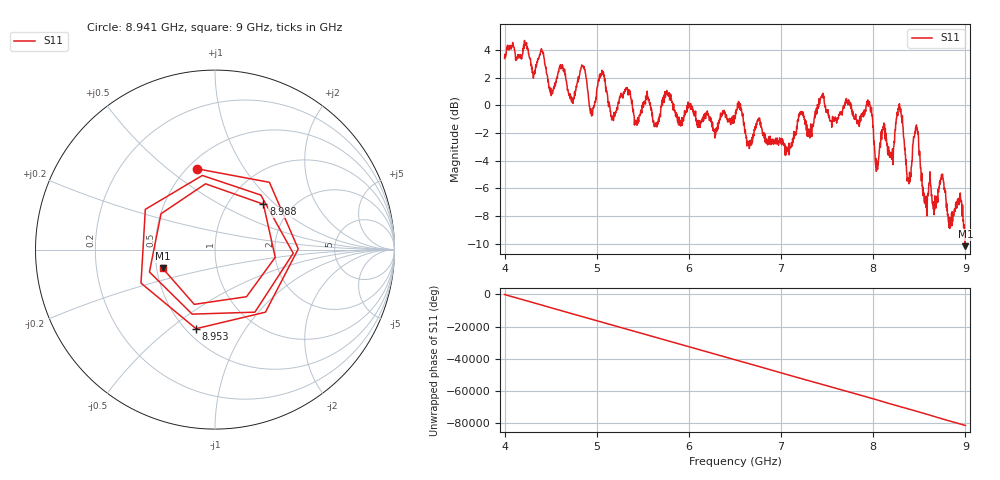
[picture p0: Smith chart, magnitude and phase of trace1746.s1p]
! Created with skrf 1.8.0 (http://scikit-rf.org).
# Hz S RI R 50.0
!freq ReS11 ImS11
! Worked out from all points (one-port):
!   1601 points, 4 GHz to 9 GHz, reference 50 ohm
!   lowest |S11| = -10.2 dB at 9 GHz (marker M1), VSWR 1.90, Z = 26.9 - j6.23 ohm
!   |S11| at or under -10 dB: 8.993944 GHz to 8.994119 GHz (175.6 kHz wide, 0.00195 % of centre); 8.998764 GHz to end of sweep
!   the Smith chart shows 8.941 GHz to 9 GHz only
!   S11 on the Smith chart (normalised r, x): 8.941 GHz: 0.56, +0.64; 8.953 GHz: 0.56, -0.62; 8.988 GHz: 1.44, +0.85; 9 GHz: 0.54, -0.12
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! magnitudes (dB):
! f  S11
! 4 GHz  3.4
! 4.406 GHz  4.0
! 4.506 GHz  0.7
! 4.625 GHz  3.0
! 4.731 GHz  0.3
! 4.856 GHz  2.7
! 4.944 GHz  -0.8
! 5.053 GHz  2.3
! 5.169 GHz  -0.8
! 5.25 GHz  0.7
! 5.875 GHz  -1.1
! 6.5 GHz  -0.7
! 6.653 GHz  -2.6
! 7.125 GHz  -2.4
! 7.438 GHz  0.6
! 7.75 GHz  0.1
! 7.956 GHz  0.2
! 8.041 GHz  -4.6
! 8.106 GHz  -1.7
! 8.203 GHz  -3.9
! 8.284 GHz  0.1
! 8.375 GHz  -5.3
! 8.466 GHz  -1.5
! 8.562 GHz  -6.6
! 8.941 GHz  -6.7
! 8.953 GHz  -6.9
! 8.988 GHz  -8.6
! 9 GHz  -10.2
